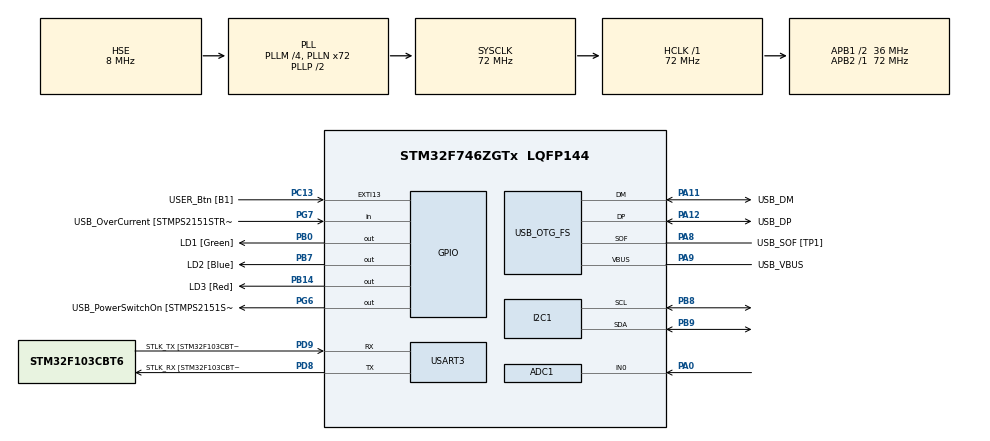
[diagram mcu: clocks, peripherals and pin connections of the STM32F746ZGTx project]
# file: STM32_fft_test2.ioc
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ADC1.Channel-2\#ChannelRegularConversion=ADC_CHANNEL_0
ADC1.ContinuousConvMode=ENABLE
ADC1.DMAContinuousRequests=ENABLE
ADC1.NbrOfConversionFlag=1
ADC1.Rank-2\#ChannelRegularConversion=1
ADC1.SamplingTime-2\#ChannelRegularConversion=ADC_SAMPLETIME_144CYCLES
ADC1.master=1
Dma.ADC1.0.Direction=DMA_PERIPH_TO_MEMORY
Dma.ADC1.0.FIFOMode=DMA_FIFOMODE_DISABLE
Dma.ADC1.0.Instance=DMA2_Stream0
Dma.ADC1.0.MemDataAlignment=DMA_MDATAALIGN_HALFWORD
Dma.ADC1.0.MemInc=DMA_MINC_ENABLE
Dma.ADC1.0.Mode=DMA_CIRCULAR
Dma.ADC1.0.PeriphDataAlignment=DMA_PDATAALIGN_HALFWORD
Dma.ADC1.0.PeriphInc=DMA_PINC_DISABLE
Dma.ADC1.0.Priority=DMA_PRIORITY_LOW
Dma.Request0=ADC1
Dma.Request1=USART3_TX
Dma.USART3_TX.1.Direction=DMA_MEMORY_TO_PERIPH
Dma.USART3_TX.1.FIFOMode=DMA_FIFOMODE_DISABLE
Dma.USART3_TX.1.Instance=DMA1_Stream3
Dma.USART3_TX.1.MemDataAlignment=DMA_MDATAALIGN_BYTE
Dma.USART3_TX.1.MemInc=DMA_MINC_ENABLE
Dma.USART3_TX.1.Mode=DMA_NORMAL
Dma.USART3_TX.1.PeriphDataAlignment=DMA_PDATAALIGN_BYTE
Dma.USART3_TX.1.PeriphInc=DMA_PINC_DISABLE
Dma.USART3_TX.1.Priority=DMA_PRIORITY_LOW
I2C1.Timing=0x00808CD2
Mcu.Family=STM32F7
Mcu.Name=STM32F746ZGTx
Mcu.Package=LQFP144
NVIC.ADC_IRQn=true\:0\:0\:false\:false\:true\:true\:true\:true
NVIC.DMA1_Stream3_IRQn=true\:0\:0\:false\:false\:true\:false\:true\:true
NVIC.DMA2_Stream0_IRQn=true\:0\:0\:false\:false\:true\:false\:true\:true
NVIC.EXTI15_10_IRQn=true\:0\:0\:false\:false\:true\:true\:true\:true
NVIC.I2C1_ER_IRQn=true\:0\:0\:false\:false\:true\:true\:true\:true
NVIC.I2C1_EV_IRQn=true\:0\:0\:false\:false\:true\:true\:true\:true
NVIC.PriorityGroup=NVIC_PRIORITYGROUP_4
NVIC.USART3_IRQn=true\:0\:0\:false\:false\:true\:true\:true\:true
PA0/WKUP.Signal=ADCx_IN0
PA1.GPIO_Label=RMII_REF_CLK [LAN8742A-CZ-TR_REFCLK0]
PA1.Signal=ETH_REF_CLK
PA10.GPIO_Label=USB_ID
PA10.Signal=USB_OTG_FS_ID
PA11.GPIO_Label=USB_DM
PA11.Mode=Device_Only
PA11.Signal=USB_OTG_FS_DM
PA12.GPIO_Label=USB_DP
PA12.Mode=Device_Only
PA12.Signal=USB_OTG_FS_DP
PA13.GPIO_Label=TMS
PA13.Mode=Serial_Wire
PA13.Signal=SYS_JTMS-SWDIO
PA14.GPIO_Label=TCK
PA14.Mode=Serial_Wire
PA14.Signal=SYS_JTCK-SWCLK
PA2.GPIO_Label=RMII_MDIO [LAN8742A-CZ-TR_MDIO]
PA2.Signal=ETH_MDIO
PA7.GPIO_Label=RMII_CRS_DV [LAN8742A-CZ-TR_CRS_DV]
PA7.Signal=ETH_CRS_DV
PA8.GPIO_Label=USB_SOF [TP1]
PA8.Mode=Activate_SOF_FS
PA8.Signal=USB_OTG_FS_SOF
PA9.GPIO_Label=USB_VBUS
PA9.Mode=Activate_VBUS
PA9.Signal=USB_OTG_FS_VBUS
PB0.GPIO_Label=LD1 [Green]
PB0.Signal=GPIO_Output
PB13.GPIO_Label=RMII_TXD1 [LAN8742A-CZ-TR_TXD1]
PB13.Signal=ETH_TXD1
PB14.GPIO_Label=LD3 [Red]
PB14.Signal=GPIO_Output
PB3.GPIO_Label=SW0
PB3.Signal=SYS_JTDO-SWO
PB7.GPIO_Label=LD2 [Blue]
PB7.Signal=GPIO_Output
PB8.Mode=I2C
PB8.Signal=I2C1_SCL
PB9.Mode=I2C
PB9.Signal=I2C1_SDA
PC1.GPIO_Label=RMII_MDC [LAN8742A-CZ-TR_MDC]
PC1.Signal=ETH_MDC
PC13.GPIO_Label=USER_Btn [B1]
PC13.Signal=GPXTI13
PC14/OSC32_IN.Mode=LSE-External-Oscillator
PC14/OSC32_IN.Signal=RCC_OSC32_IN
PC15/OSC32_OUT.Mode=LSE-External-Oscillator
PC15/OSC32_OUT.Signal=RCC_OSC32_OUT
PC4.GPIO_Label=RMII_RXD0 [LAN8742A-CZ-TR_RXD0]
PC4.Signal=ETH_RXD0
PC5.GPIO_Label=RMII_RXD1 [LAN8742A-CZ-TR_RXD1]
PC5.Signal=ETH_RXD1
PD8.GPIO_Label=STLK_RX [STM32F103CBT6_PA3]
PD8.Mode=Asynchronous
PD8.Signal=USART3_TX
PD9.GPIO_Label=STLK_TX [STM32F103CBT6_PA2]
PD9.Mode=Asynchronous
PD9.Signal=USART3_RX
PG11.GPIO_Label=RMII_TX_EN [LAN8742A-CZ-TR_TXEN]
PG11.Signal=ETH_TX_EN
PG13.GPIO_Label=RMII_TXD0 [LAN8742A-CZ-TR_TXD0]
PG13.Signal=ETH_TXD0
PG6.GPIO_Label=USB_PowerSwitchOn [STMPS2151STR_EN]
PG6.Signal=GPIO_Output
PG7.GPIO_Label=USB_OverCurrent [STMPS2151STR_FAULT]
PG7.Signal=GPIO_Input
PH0/OSC_IN.GPIO_Label=MCO [STM32F103CBT6_PA8]
PH0/OSC_IN.Mode=HSE-External-Clock-Source
PH0/OSC_IN.Signal=RCC_OSC_IN
PH1/OSC_OUT.Mode=HSE-External-Clock-Source
PH1/OSC_OUT.Signal=RCC_OSC_OUT
ProjectManager.HeapSize=0x200
ProjectManager.StackSize=0x400
ProjectManager.TargetToolchain=STM32CubeIDE
RCC.48MHZClocksFreq_Value=24000000
RCC.AHBFreq_Value=72000000
RCC.APB1CLKDivider=RCC_HCLK_DIV2
RCC.APB1Freq_Value=36000000
RCC.APB1TimFreq_Value=72000000
RCC.APB2Freq_Value=72000000
RCC.APB2TimFreq_Value=72000000
RCC.CortexFreq_Value=72000000
RCC.HCLKFreq_Value=72000000
RCC.HSE_VALUE=8000000
RCC.HSI_VALUE=16000000
RCC.PLLM=4
RCC.PLLMUL=RCC_PLL_MUL9
RCC.PLLN=72
RCC.PLLQ=3
RCC.PRESCALERUSB=RCC_USBCLKSOURCE_PLL_DIV1_5
RCC.SYSCLKFreq_VALUE=72000000
RCC.SYSCLKSource=RCC_SYSCLKSOURCE_PLLCLK
RCC.SYSCLKSourceVirtual=RCC_SYSCLKSOURCE_PLLCLK
RCC.USBFreq_Value=48000000
RCC.VCOOutputFreq_Value=144000000
SH.ADCx_IN0.0=ADC1_IN0,IN0
USART3.VirtualMode-Asynchronous=VM_ASYNC
USB_OTG_FS.VirtualMode=Device_Only
board=NUCLEO-F746ZG

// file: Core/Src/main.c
/* USER CODE BEGIN Header */
/**
  ******************************************************************************
  * @file           : main.c
  * @brief          : Main program body
  ******************************************************************************
  * @attention
  *
  * Copyright (c) 2023 STMicroelectronics.
  * All rights reserved.
  *
  * This software is licensed under terms that can be found in the LICENSE file
  * in the root directory of this software component.
  * If no LICENSE file comes with this software, it is provided AS-IS.
  *
  ******************************************************************************
  */
/* USER CODE END Header */
#include "main.h"

/* USER CODE BEGIN Includes */

// Libraries
#include "ssd1306.h"

// Headers
#include "global_variables.h"
#include "callbacks.h"
#include "FFT.h"

/* USER CODE END Includes */

ADC_HandleTypeDef hadc1;
DMA_HandleTypeDef hdma_adc1;

I2C_HandleTypeDef hi2c1;

UART_HandleTypeDef huart3;
DMA_HandleTypeDef hdma_usart3_tx;

PCD_HandleTypeDef hpcd_USB_OTG_FS;

void SystemClock_Config(void);
static void MX_GPIO_Init(void);
static void MX_USB_OTG_FS_PCD_Init(void);
static void MX_DMA_Init(void);
static void MX_ADC1_Init(void);
static void MX_I2C1_Init(void);
static void MX_USART3_UART_Init(void);

/* USER CODE BEGIN 0 */

void main_loop()
{
	if (buffer_state == FFT_BUFFER_HALF)
		  {
			  for (int i = 0;i < 2048; i++)
				  fft_input_buffer[i] = (float)(int)adc_buffer[i];
			  FFT(&huart3);
		  }

		  if (buffer_state == FFT_BUFFER_FULL)
		  {
			  for (int i = 2048;i < 4096; i++)
				  fft_input_buffer[i] = (float)(int)adc_buffer[i];
			  FFT(&huart3);
		  }

		  if (buffer_state == FFT_DISPLAY)
		  {
			  DisplayFFT();
		  }
}
/* USER CODE END 0 */

int main(void)
{

  /* MCU Configuration--------------------------------------------------------*/

  /* Reset of all peripherals, Initializes the Flash interface and the Systick. */
  HAL_Init();

  /* Configure the system clock */
  SystemClock_Config();

  /* Initialize all configured peripherals */
  MX_GPIO_Init();
  MX_USB_OTG_FS_PCD_Init();
  MX_DMA_Init();
  MX_ADC1_Init();
  MX_I2C1_Init();
  MX_USART3_UART_Init();
  /* USER CODE BEGIN 2 */
  ssd1306_Init();
  //SCB->SHCSR |= SCB_SHCSR_MEMFAULTENA_Msk | SCB_SHCSR_BUSFAULTENA_Msk; // Enables Advanced error handling
  /* USER CODE END 2 */

  /* Infinite loop */
  /* USER CODE BEGIN WHILE */
  HAL_ADC_Start_DMA(&hadc1, adc_buffer, 4096);
  arm_rfft_fast_init_f32(&fft_handler, 2048);
  while (1)
  {
	main_loop();
    /* USER CODE END WHILE */

  }
}

void SystemClock_Config(void)
{
  RCC_OscInitTypeDef RCC_OscInitStruct = {0};
  RCC_ClkInitTypeDef RCC_ClkInitStruct = {0};

  /** Configure LSE Drive Capability
  */
  HAL_PWR_EnableBkUpAccess();

  /** Configure the main internal regulator output voltage
  */
  __HAL_RCC_PWR_CLK_ENABLE();
  __HAL_PWR_VOLTAGESCALING_CONFIG(PWR_REGULATOR_VOLTAGE_SCALE3);

  /** Initializes the RCC Oscillators according to the specified parameters
  * in the RCC_OscInitTypeDef structure.
  */
  RCC_OscInitStruct.OscillatorType = RCC_OSCILLATORTYPE_HSE;
  RCC_OscInitStruct.HSEState = RCC_HSE_BYPASS;
  RCC_OscInitStruct.PLL.PLLState = RCC_PLL_ON;
  RCC_OscInitStruct.PLL.PLLSource = RCC_PLLSOURCE_HSE;
  RCC_OscInitStruct.PLL.PLLM = 4;
  RCC_OscInitStruct.PLL.PLLN = 72;
  RCC_OscInitStruct.PLL.PLLP = RCC_PLLP_DIV2;
  RCC_OscInitStruct.PLL.PLLQ = 3;
  if (HAL_RCC_OscConfig(&RCC_OscInitStruct) != HAL_OK)
  {
    Error_Handler();
  }

  /** Initializes the CPU, AHB and APB buses clocks
  */
  RCC_ClkInitStruct.ClockType = RCC_CLOCKTYPE_HCLK|RCC_CLOCKTYPE_SYSCLK
                              |RCC_CLOCKTYPE_PCLK1|RCC_CLOCKTYPE_PCLK2;
  RCC_ClkInitStruct.SYSCLKSource = RCC_SYSCLKSOURCE_PLLCLK;
  RCC_ClkInitStruct.AHBCLKDivider = RCC_SYSCLK_DIV1;
  RCC_ClkInitStruct.APB1CLKDivider = RCC_HCLK_DIV2;
  RCC_ClkInitStruct.APB2CLKDivider = RCC_HCLK_DIV1;

  if (HAL_RCC_ClockConfig(&RCC_ClkInitStruct, FLASH_LATENCY_2) != HAL_OK)
  {
    Error_Handler();
  }
}

static void MX_ADC1_Init(void)
{

  ADC_ChannelConfTypeDef sConfig = {0};

  /** Configure the global features of the ADC (Clock, Resolution, Data Alignment and number of conversion)
  */
  hadc1.Instance = ADC1;
  hadc1.Init.ClockPrescaler = ADC_CLOCK_SYNC_PCLK_DIV2;
  hadc1.Init.Resolution = ADC_RESOLUTION_12B;
  hadc1.Init.ScanConvMode = ADC_SCAN_DISABLE;
  hadc1.Init.ContinuousConvMode = ENABLE;
  hadc1.Init.DiscontinuousConvMode = DISABLE;
  hadc1.Init.ExternalTrigConvEdge = ADC_EXTERNALTRIGCONVEDGE_NONE;
  hadc1.Init.ExternalTrigConv = ADC_SOFTWARE_START;
  hadc1.Init.DataAlign = ADC_DATAALIGN_RIGHT;
  hadc1.Init.NbrOfConversion = 1;
  hadc1.Init.DMAContinuousRequests = ENABLE;
  hadc1.Init.EOCSelection = ADC_EOC_SINGLE_CONV;
  if (HAL_ADC_Init(&hadc1) != HAL_OK)
  {
    Error_Handler();
  }

  /** Configure for the selected ADC regular channel its corresponding rank in the sequencer and its sample time.
  */
  sConfig.Channel = ADC_CHANNEL_0;
  sConfig.Rank = ADC_REGULAR_RANK_1;
  sConfig.SamplingTime = ADC_SAMPLETIME_144CYCLES;
  if (HAL_ADC_ConfigChannel(&hadc1, &sConfig) != HAL_OK)
  {
    Error_Handler();
  }

}

static void MX_I2C1_Init(void)
{

  hi2c1.Instance = I2C1;
  hi2c1.Init.Timing = 0x00808CD2;
  hi2c1.Init.OwnAddress1 = 0;
  hi2c1.Init.AddressingMode = I2C_ADDRESSINGMODE_7BIT;
  hi2c1.Init.DualAddressMode = I2C_DUALADDRESS_DISABLE;
  hi2c1.Init.OwnAddress2 = 0;
  hi2c1.Init.OwnAddress2Masks = I2C_OA2_NOMASK;
  hi2c1.Init.GeneralCallMode = I2C_GENERALCALL_DISABLE;
  hi2c1.Init.NoStretchMode = I2C_NOSTRETCH_DISABLE;
  if (HAL_I2C_Init(&hi2c1) != HAL_OK)
  {
    Error_Handler();
  }

  /** Configure Analogue filter
  */
  if (HAL_I2CEx_ConfigAnalogFilter(&hi2c1, I2C_ANALOGFILTER_ENABLE) != HAL_OK)
  {
    Error_Handler();
  }

  /** Configure Digital filter
  */
  if (HAL_I2CEx_ConfigDigitalFilter(&hi2c1, 0) != HAL_OK)
  {
    Error_Handler();
  }

}

static void MX_USART3_UART_Init(void)
{

  huart3.Instance = USART3;
  huart3.Init.BaudRate = 115200;
  huart3.Init.WordLength = UART_WORDLENGTH_8B;
  huart3.Init.StopBits = UART_STOPBITS_1;
  huart3.Init.Parity = UART_PARITY_NONE;
  huart3.Init.Mode = UART_MODE_TX_RX;
  huart3.Init.HwFlowCtl = UART_HWCONTROL_NONE;
  huart3.Init.OverSampling = UART_OVERSAMPLING_16;
  huart3.Init.OneBitSampling = UART_ONE_BIT_SAMPLE_DISABLE;
  huart3.AdvancedInit.AdvFeatureInit = UART_ADVFEATURE_NO_INIT;
  if (HAL_UART_Init(&huart3) != HAL_OK)
  {
    Error_Handler();
  }

}

static void MX_USB_OTG_FS_PCD_Init(void)
{

  hpcd_USB_OTG_FS.Instance = USB_OTG_FS;
  hpcd_USB_OTG_FS.Init.dev_endpoints = 6;
  hpcd_USB_OTG_FS.Init.speed = PCD_SPEED_FULL;
  hpcd_USB_OTG_FS.Init.dma_enable = DISABLE;
  hpcd_USB_OTG_FS.Init.phy_itface = PCD_PHY_EMBEDDED;
  hpcd_USB_OTG_FS.Init.Sof_enable = ENABLE;
  hpcd_USB_OTG_FS.Init.low_power_enable = DISABLE;
  hpcd_USB_OTG_FS.Init.lpm_enable = DISABLE;
  hpcd_USB_OTG_FS.Init.vbus_sensing_enable = ENABLE;
  hpcd_USB_OTG_FS.Init.use_dedicated_ep1 = DISABLE;
  if (HAL_PCD_Init(&hpcd_USB_OTG_FS) != HAL_OK)
  {
    Error_Handler();
  }

}

static void MX_DMA_Init(void)
{

  /* DMA controller clock enable */
  __HAL_RCC_DMA2_CLK_ENABLE();
  __HAL_RCC_DMA1_CLK_ENABLE();

  /* DMA interrupt init */
  /* DMA1_Stream3_IRQn interrupt configuration */
  HAL_NVIC_SetPriority(DMA1_Stream3_IRQn, 0, 0);
  HAL_NVIC_EnableIRQ(DMA1_Stream3_IRQn);
  /* DMA2_Stream0_IRQn interrupt configuration */
  HAL_NVIC_SetPriority(DMA2_Stream0_IRQn, 0, 0);
  HAL_NVIC_EnableIRQ(DMA2_Stream0_IRQn);

}

static void MX_GPIO_Init(void)
{
  GPIO_InitTypeDef GPIO_InitStruct = {0};

  /* GPIO Ports Clock Enable */
  __HAL_RCC_GPIOC_CLK_ENABLE();
  __HAL_RCC_GPIOH_CLK_ENABLE();
  __HAL_RCC_GPIOA_CLK_ENABLE();
  __HAL_RCC_GPIOB_CLK_ENABLE();
  __HAL_RCC_GPIOD_CLK_ENABLE();
  __HAL_RCC_GPIOG_CLK_ENABLE();

  /*Configure GPIO pin Output Level */
  HAL_GPIO_WritePin(GPIOB, LD1_Pin|LD3_Pin|LD2_Pin, GPIO_PIN_RESET);

  /*Configure GPIO pin Output Level */
  HAL_GPIO_WritePin(USB_PowerSwitchOn_GPIO_Port, USB_PowerSwitchOn_Pin, GPIO_PIN_RESET);

  /*Configure GPIO pin : USER_Btn_Pin */
  GPIO_InitStruct.Pin = USER_Btn_Pin;
  GPIO_InitStruct.Mode = GPIO_MODE_IT_RISING;
  GPIO_InitStruct.Pull = GPIO_NOPULL;
  HAL_GPIO_Init(USER_Btn_GPIO_Port, &GPIO_InitStruct);

  /*Configure GPIO pins : RMII_MDC_Pin RMII_RXD0_Pin RMII_RXD1_Pin */
  GPIO_InitStruct.Pin = RMII_MDC_Pin|RMII_RXD0_Pin|RMII_RXD1_Pin;
  GPIO_InitStruct.Mode = GPIO_MODE_AF_PP;
  GPIO_InitStruct.Pull = GPIO_NOPULL;
  GPIO_InitStruct.Speed = GPIO_SPEED_FREQ_VERY_HIGH;
  GPIO_InitStruct.Alternate = GPIO_AF11_ETH;
  HAL_GPIO_Init(GPIOC, &GPIO_InitStruct);

  /*Configure GPIO pins : RMII_REF_CLK_Pin RMII_MDIO_Pin RMII_CRS_DV_Pin */
  GPIO_InitStruct.Pin = RMII_REF_CLK_Pin|RMII_MDIO_Pin|RMII_CRS_DV_Pin;
  GPIO_InitStruct.Mode = GPIO_MODE_AF_PP;
  GPIO_InitStruct.Pull = GPIO_NOPULL;
  GPIO_InitStruct.Speed = GPIO_SPEED_FREQ_VERY_HIGH;
  GPIO_InitStruct.Alternate = GPIO_AF11_ETH;
  HAL_GPIO_Init(GPIOA, &GPIO_InitStruct);

  /*Configure GPIO pins : LD1_Pin LD3_Pin LD2_Pin */
  GPIO_InitStruct.Pin = LD1_Pin|LD3_Pin|LD2_Pin;
  GPIO_InitStruct.Mode = GPIO_MODE_OUTPUT_PP;
  GPIO_InitStruct.Pull = GPIO_NOPULL;
  GPIO_InitStruct.Speed = GPIO_SPEED_FREQ_LOW;
  HAL_GPIO_Init(GPIOB, &GPIO_InitStruct);

  /*Configure GPIO pin : RMII_TXD1_Pin */
  GPIO_InitStruct.Pin = RMII_TXD1_Pin;
  GPIO_InitStruct.Mode = GPIO_MODE_AF_PP;
  GPIO_InitStruct.Pull = GPIO_NOPULL;
  GPIO_InitStruct.Speed = GPIO_SPEED_FREQ_VERY_HIGH;
  GPIO_InitStruct.Alternate = GPIO_AF11_ETH;
  HAL_GPIO_Init(RMII_TXD1_GPIO_Port, &GPIO_InitStruct);

  /*Configure GPIO pin : USB_PowerSwitchOn_Pin */
  GPIO_InitStruct.Pin = USB_PowerSwitchOn_Pin;
  GPIO_InitStruct.Mode = GPIO_MODE_OUTPUT_PP;
  GPIO_InitStruct.Pull = GPIO_NOPULL;
  GPIO_InitStruct.Speed = GPIO_SPEED_FREQ_LOW;
  HAL_GPIO_Init(USB_PowerSwitchOn_GPIO_Port, &GPIO_InitStruct);

  /*Configure GPIO pin : USB_OverCurrent_Pin */
  GPIO_InitStruct.Pin = USB_OverCurrent_Pin;
  GPIO_InitStruct.Mode = GPIO_MODE_INPUT;
  GPIO_InitStruct.Pull = GPIO_NOPULL;
  HAL_GPIO_Init(USB_OverCurrent_GPIO_Port, &GPIO_InitStruct);

  /*Configure GPIO pins : RMII_TX_EN_Pin RMII_TXD0_Pin */
  GPIO_InitStruct.Pin = RMII_TX_EN_Pin|RMII_TXD0_Pin;
  GPIO_InitStruct.Mode = GPIO_MODE_AF_PP;
  GPIO_InitStruct.Pull = GPIO_NOPULL;
  GPIO_InitStruct.Speed = GPIO_SPEED_FREQ_VERY_HIGH;
  GPIO_InitStruct.Alternate = GPIO_AF11_ETH;
  HAL_GPIO_Init(GPIOG, &GPIO_InitStruct);

  /* EXTI interrupt init*/
  HAL_NVIC_SetPriority(EXTI15_10_IRQn, 0, 0);
  HAL_NVIC_EnableIRQ(EXTI15_10_IRQn);

}

void Error_Handler(void)
{
  __disable_irq();
  while (1)
  {
  }
}
